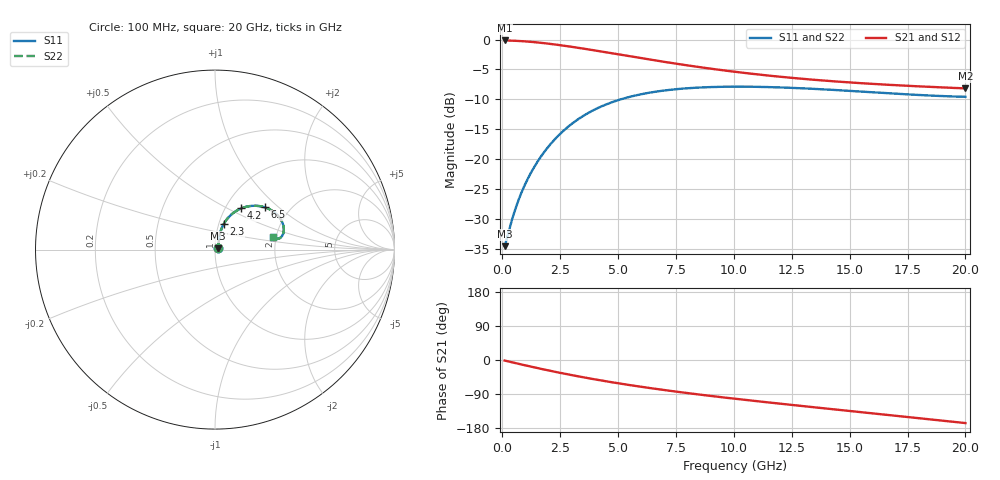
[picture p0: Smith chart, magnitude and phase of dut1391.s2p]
! Touchstone file exported from HFSS 2024.1.0
!  File:  C:/UserFiles/LocalFiles/RDL_TSV_Batchsim/temp_RDL_TSV_1391_1780403701.aedt
!  Generated:  08:52:35 PM Jun  2, 2026
!  Design:  RDL_TSV
!  Project:  temp_RDL_TSV_1391_1780403701
!  Setup:  Setup1
!  Solution:  Sweep
! Variables:
!  dtsv = 6.41um
!  hbump = 3um
!  htsv = 68.07um
!  ldown = 303.3um
!  lrdl = 365.05um
!  p = 40
!  p1 = 55.72um
!  rhole = 10um
!  subl = 2370.1um
!  t = 450um
!  tdown = 2.56um
!  trdl = 4.74um
!  viad = 10um
!  wdown = 10.68um
!  wrdl = 21.54um
!  xbump = 18um
# GHz S MA R 50.000000
! Terminal data exported
! Port[1] = TM1_1_T1
! Port[2] = TM1_4_T1
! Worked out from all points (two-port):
!   200 points, 100 MHz to 20 GHz, reference 50 ohm
!   highest |S21| = -0.16 dB at 100 MHz (marker M1); lowest = -8.1 dB at 20 GHz (marker M2)
!   |S21| within 3 dB of the highest: start of sweep to 6.083 GHz
!   lowest |S11| = -34.5 dB at 100 MHz (marker M3), VSWR 1.04, Z = 51.8 + j0.64 ohm
!   |S11| at or under -10 dB: start of sweep to 5.096 GHz
!   |S22| runs from -34.5 to -7.9 dB; largest |S21 - S12| = 1.8e-14
!   S11 on the Smith chart (normalised r, x): 100 MHz: 1.04, +0.01; 2.3 GHz: 1.06, +0.31; 4.2 GHz: 1.19, +0.59; 6.5 GHz: 1.50, +0.82; 20 GHz: 1.93, +0.31
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0.1  0.01894 19.0  0.9819 -1.5  0.9819 -1.5  0.01894 19.0
! Gamma 0 0 0 0
! Port Impedance 50 0 50 0
0.4  0.03053 51.0  0.9785 -5.8  0.9785 -5.8  0.03053 51.0
0.6  0.04049 60.3  0.9748 -8.6  0.9748 -8.6  0.04049 60.3
0.8  0.05136 65.8  0.9701 -11.4  0.9701 -11.4  0.05136 65.8
1  0.06296 69.2  0.9644 -14.2  0.9644 -14.2  0.06295 69.2
1.3  0.0815 71.9  0.954 -18.4  0.954 -18.4  0.08149 71.9
1.6  0.1012 72.9  0.9417 -22.4  0.9417 -22.4  0.1011 72.9
1.9  0.1216 72.7  0.9279 -26.3  0.9279 -26.3  0.1216 72.7
2.3  0.1496 71.3  0.9076 -31.4  0.9076 -31.4  0.1495 71.3
2.9  0.1914 67.7  0.8746 -38.7  0.8746 -38.7  0.1913 67.7
3.5  0.231 63.1  0.8399 -45.7  0.8399 -45.7  0.2309 63.1
4.2  0.2724 57.5  0.7989 -53.3  0.7989 -53.3  0.2723 57.5
5.3  0.3247 48.8  0.7365 -64.3  0.7365 -64.3  0.3247 48.8
6.5  0.3642 40.3  0.6745 -75.1  0.6745 -75.1  0.3642 40.3
6.8  0.3715 38.3  0.6602 -77.7  0.6602 -77.7  0.3715 38.3
8.4  0.3968 29.3  0.5928 -90.4  0.5928 -90.4  0.3967 29.3
10.1  0.4045 21.9  0.5366 -102.6  0.5366 -102.6  0.4045 21.9
11.7  0.4003 16.7  0.4958 -113.3  0.4958 -113.3  0.4003 16.7
13.4  0.3883 12.8  0.4626 -124.3  0.4626 -124.3  0.3883 12.8
15  0.3732 10.5  0.4387 -134.4  0.4387 -134.4  0.3732 10.5
16.7  0.3562 9.7  0.419 -145.2  0.419 -145.2  0.3563 9.7
20  0.3329 12.4  0.3913 -166.4  0.3913 -166.4  0.333 12.4
